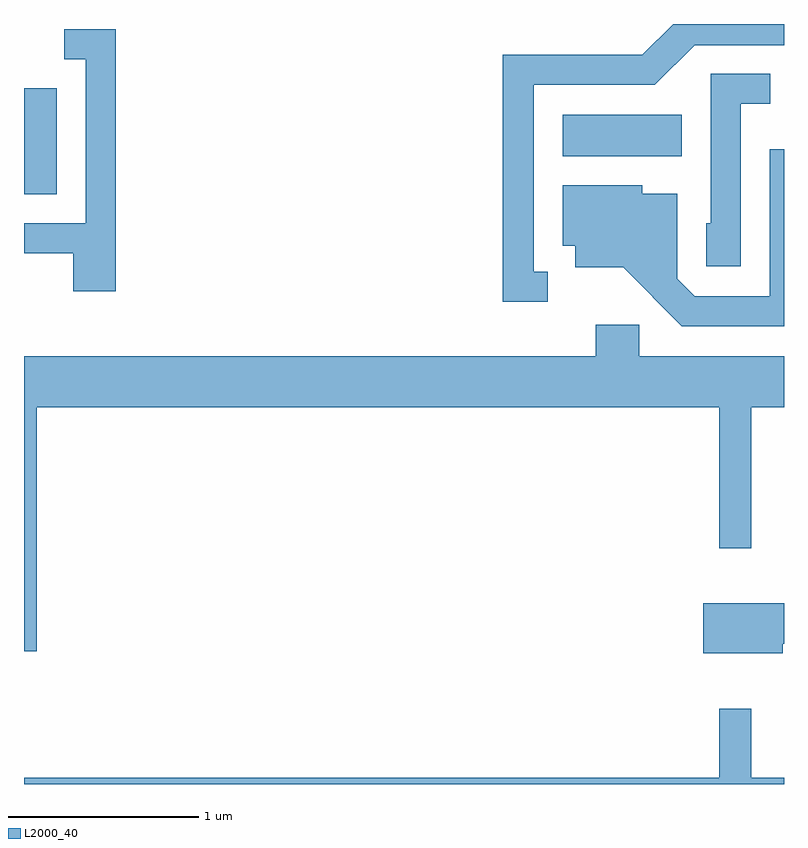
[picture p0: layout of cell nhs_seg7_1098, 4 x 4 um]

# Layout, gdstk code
import gdstk
lib = gdstk.Library(unit=1e-6, precision=1e-09)
def R(c, l, rs):  # rectangles x0, y0, x1, y1
    for r in rs: c.add(gdstk.rectangle(r[:2], r[2:], *l))
def P(c, l, *ps):  # polygons
    for p in ps: c.add(gdstk.Polygon(p, *l))
L2000_40 = (2000, 40)

nhs_seg7_1098 = lib.new_cell('nhs_seg7_1098')
R(nhs_seg7_1098, L2000_40, [(217.611,1795.356,217.784,1795.914), (220.446,1795.556,221.074,1795.774)])
P(nhs_seg7_1098, L2000_40, [(220.368,1794.949),(220.294,1794.949),(220.294,1795.931),(220.932,1795.931),(221.142,1796.141),(221.611,1796.141),(221.611,1796.252),(221.027,1796.252),(220.864,1796.089),(220.131,1796.089),(220.131,1794.791),(220.368,1794.791)],
  [(218.094,1796.224),(217.823,1796.224),(217.823,1796.066),(217.936,1796.066),(217.936,1795.204),(217.611,1795.204),(217.611,1795.046),(217.871,1795.046),(217.871,1794.846),(218.094,1794.846)],
  [(221.384,1795.831),(221.538,1795.831),(221.538,1795.989),(221.226,1795.989),(221.226,1795.204),(221.201,1795.204),(221.201,1794.976),(221.384,1794.976)],
  [(221.611,1795.593),(221.536,1795.593),(221.536,1794.819),(221.142,1794.819),(221.049,1794.912),(221.049,1795.359),(220.864,1795.359),(220.864,1795.404),(220.446,1795.404),(220.446,1795.086),(220.511,1795.086),(220.511,1794.971),(220.764,1794.971),(221.074,1794.661),(221.611,1794.661)],
  [(217.679,1794.236),(221.271,1794.236),(221.271,1793.493),(221.439,1793.493),(221.439,1794.236),(221.611,1794.236),(221.611,1794.504),(220.849,1794.504),(220.849,1794.669),(220.621,1794.669),(220.621,1794.504),(217.611,1794.504),(217.611,1792.951),(217.679,1792.951)],
  [(221.604,1792.991),(221.611,1792.991),(221.611,1793.204),(221.186,1793.204),(221.186,1792.941),(221.604,1792.941)],
  [(221.611,1792.284),(221.439,1792.284),(221.439,1792.648),(221.271,1792.648),(221.271,1792.284),(217.611,1792.284),(217.611,1792.252),(221.611,1792.252)])

lib.write_gds('nhs_seg7_1098.gds')
